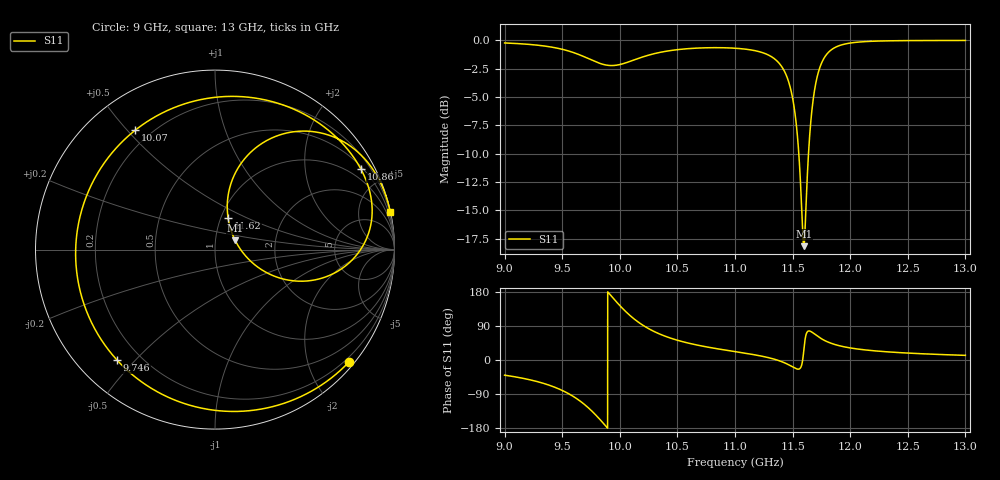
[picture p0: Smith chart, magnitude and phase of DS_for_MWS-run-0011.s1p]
! TOUCHSTONE file generated by CST DESIGN STUDIO
! Date and time: Tue Feb  4 18:08:26 2025
! Project name: C:\Work\MatlabApps\UnitCellOptimizationMatlab\CST\unitcell.cst
! Tree item: Tasks\Sweep1\SPara1\S-Parameters
! Header version: 2024
! Port assignment regex: !\s*Touchstone port\s*([0-9]+)\s*=\s*(CST MWS port|CST DES external port|CST DES block port)\s*(.+)\s* \(\"(.*)\"\)(\s*mode\s*([0-9]+))?.*
! Touchstone port assignment:
! Touchstone port 1 = CST DES external port 1 ("")
# GHz S MA R 50
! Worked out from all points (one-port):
!   4001 points, 9 GHz to 13 GHz, reference 50 ohm
!   lowest |S11| = -18.2 dB at 11.6 GHz (marker M1), VSWR 1.28, Z = 62.3 + j6.53 ohm
!   |S11| at or under -10 dB: 11.55 GHz to 11.64 GHz (84.06 MHz wide, 0.725 % of centre)
!   S11 on the Smith chart (normalised r, x): 9 GHz: 0.11, -2.74; 9.746 GHz: 0.12, -0.45; 10.07 GHz: 0.14, +0.53; 10.86 GHz: 0.59, +3.81; 11.62 GHz: 1.08, +0.39; 13 GHz: 0.04, +9.33
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9  0.9742 -40.0
9.282  0.9527 -56.9
9.5  0.9135 -80.3
9.635  0.8697 -103.9
9.746  0.8228 -131.5
9.877  0.7788 -173.9
9.936  0.7743 165.4
10  0.7821 143.7
10.066  0.8002 123.6
10.143  0.8264 103.9
10.23  0.8547 86.2
10.358  0.887 67.0
10.5  0.9099 52.2
10.862  0.9284 28.8
11  0.9233 22.2
11.335  0.835 2.7
11.428  0.7325 -7.1
11.5  0.5563 -18.1
11.551  0.3316 -24.2
11.583  0.161 -7.9
11.597  0.1235 24.7
11.617  0.1887 67.2
11.662  0.4608 74.6
11.723  0.7216 61.4
11.839  0.9108 43.6
12  0.9732 31.9
12.5  0.9977 18.3
13  0.9991 12.2
